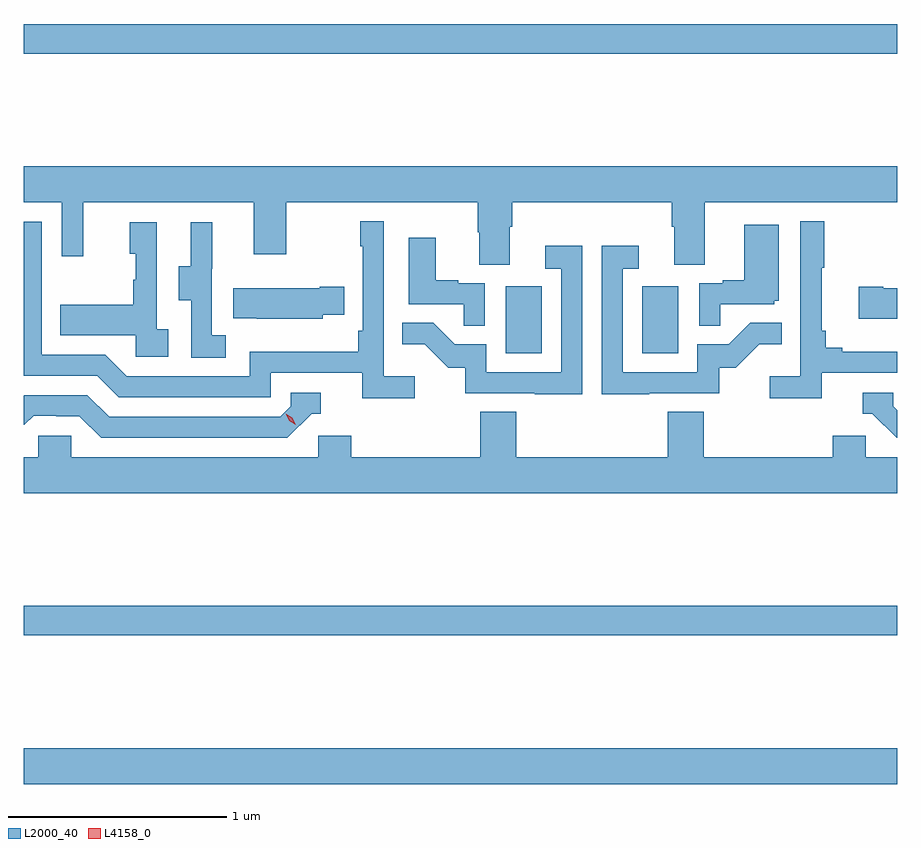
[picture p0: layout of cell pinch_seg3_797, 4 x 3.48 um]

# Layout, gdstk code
import gdstk
lib = gdstk.Library(unit=1e-6, precision=1e-09)
def R(c, l, rs):  # rectangles x0, y0, x1, y1
    for r in rs: c.add(gdstk.rectangle(r[:2], r[2:], *l))
def P(c, l, *ps):  # polygons
    for p in ps: c.add(gdstk.Polygon(p, *l))
L2000_40 = (2000, 40)
L4158_0 = (4158, 0)

pinch_seg3_797 = lib.new_cell('pinch_seg3_797')
R(pinch_seg3_797, L2000_40, [(872.888,715.568,876.888,715.732), (872.888,716.248,876.888,716.384), (875.096,717.54,875.26,717.847), (875.72,717.54,875.884,717.847), (872.888,718.912,876.888,719.048)])
P(pinch_seg3_797, L2000_40, [(872.888,718.232),(873.063,718.232),(873.063,717.984),(873.161,717.984),(873.161,718.232),(873.941,718.232),(873.941,717.993),(874.089,717.993),(874.089,718.232),(874.966,718.232),(874.966,718.095),(874.973,718.095),(874.973,717.946),(875.113,717.946),(875.113,718.12),(875.126,718.12),(875.126,718.232),(875.855,718.232),(875.855,718.12),(875.867,718.12),(875.867,717.946),(876.007,717.946),(876.007,718.232),(876.888,718.232),(876.888,718.396),(872.888,718.396)],
  [(874.678,717.436),(874.536,717.436),(874.536,718.144),(874.428,718.144),(874.428,718.031),(874.44,718.031),(874.44,717.643),(874.42,717.643),(874.42,717.547),(873.924,717.547),(873.924,717.435),(873.36,717.435),(873.261,717.534),(872.97,717.534),(872.97,718.143),(872.888,718.143),(872.888,717.438),(873.224,717.438),(873.323,717.339),(874.02,717.339),(874.02,717.45),(874.439,717.45),(874.439,717.334),(874.678,717.334)],
  [(876.542,717.45),(876.888,717.45),(876.888,717.547),(876.637,717.547),(876.637,717.566),(876.56,717.566),(876.56,717.643),(876.541,717.643),(876.541,717.931),(876.553,717.931),(876.553,718.144),(876.444,718.144),(876.444,717.436),(876.303,717.436),(876.303,717.334),(876.542,717.334)],
  [(873.55,717.65),(873.498,717.65),(873.498,718.141),(873.374,718.141),(873.374,717.996),(873.4,717.996),(873.4,717.878),(873.39,717.878),(873.39,717.763),(873.055,717.763),(873.055,717.623),(873.402,717.623),(873.402,717.525),(873.55,717.525)],
  [(873.814,717.623),(873.75,717.623),(873.75,717.927),(873.752,717.927),(873.752,718.141),(873.653,718.141),(873.653,717.939),(873.599,717.939),(873.599,717.784),(873.654,717.784),(873.654,717.52),(873.814,717.52)],
  [(876.077,717.765),(876.324,717.765),(876.324,717.78),(876.346,717.78),(876.346,718.129),(876.188,718.129),(876.188,717.874),(876.089,717.874),(876.089,717.861),(875.982,717.861),(875.982,717.667),(876.077,717.667)],
  [(874.998,717.861),(874.877,717.861),(874.877,717.874),(874.774,717.874),(874.774,718.069),(874.652,718.069),(874.652,717.765),(874.903,717.765),(874.903,717.667),(874.998,717.667)],
  [(875.445,718.033),(875.277,718.033),(875.277,717.927),(875.349,717.927),(875.349,717.453),(875.007,717.453),(875.007,717.582),(874.862,717.582),(874.764,717.68),(874.621,717.68),(874.621,717.581),(874.725,717.581),(874.832,717.474),(874.909,717.474),(874.909,717.357),(875.227,717.357),(875.227,717.352),(875.445,717.352)],
  [(875.753,717.357),(876.072,717.357),(876.072,717.474),(876.148,717.474),(876.255,717.581),(876.359,717.581),(876.359,717.68),(876.215,717.68),(876.117,717.582),(875.973,717.582),(875.973,717.453),(875.631,717.453),(875.631,717.927),(875.704,717.927),(875.704,718.033),(875.535,718.033),(875.535,717.352),(875.753,717.352)],
  [(876.888,717.838),(876.823,717.838),(876.823,717.846),(876.711,717.846),(876.711,717.698),(876.888,717.698)],
  [(874.257,717.716),(874.355,717.716),(874.355,717.846),(874.244,717.846),(874.244,717.838),(873.847,717.838),(873.847,717.701),(873.955,717.701),(873.955,717.698),(874.257,717.698)],
  [(874.206,717.264),(874.249,717.264),(874.249,717.36),(874.11,717.36),(874.11,717.297),(874.062,717.249),(873.279,717.249),(873.18,717.348),(872.891,717.348),(872.888,717.345),(872.888,717.213),(872.891,717.213),(872.933,717.255),(873.036,717.255),(873.036,717.252),(873.143,717.252),(873.242,717.153),(874.095,717.153)],
  [(876.888,717.279),(876.87,717.297),(876.87,717.36),(876.731,717.36),(876.731,717.264),(876.774,717.264),(876.885,717.153),(876.888,717.153)],
  [(876.888,717.064),(876.744,717.064),(876.744,717.162),(876.593,717.162),(876.593,717.064),(876.002,717.064),(876.002,717.272),(875.837,717.272),(875.837,717.064),(875.144,717.064),(875.144,717.272),(874.979,717.272),(874.979,717.064),(874.388,717.064),(874.388,717.162),(874.236,717.162),(874.236,717.064),(873.105,717.064),(873.105,717.162),(872.955,717.162),(872.955,717.064),(872.888,717.064),(872.888,716.9),(876.888,716.9)])
P(pinch_seg3_797, L4158_0, [(874.134,717.212),(874.103,717.231),(874.087,717.264),(874.087,717.264),(874.087,717.264),(874.118,717.244),(874.134,717.212),(874.134,717.212)])

lib.write_gds('pinch_seg3_797.gds')
